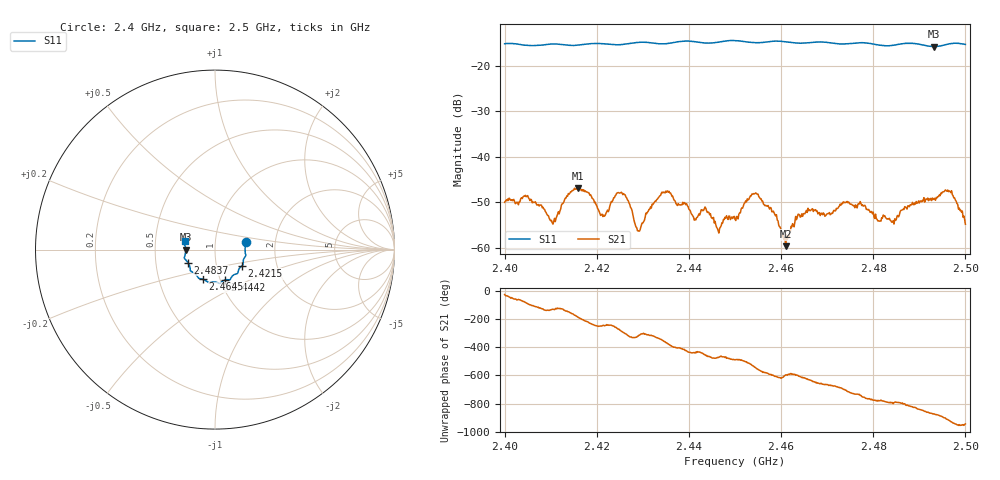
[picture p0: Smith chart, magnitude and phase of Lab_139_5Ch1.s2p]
# Hz S RI R 50
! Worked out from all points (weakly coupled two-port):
!   601 points, 2.4 GHz to 2.5 GHz, reference 50 ohm
!   highest |S21| = -46.86 dB at 2.416 GHz (marker M1); lowest = -59.7 dB at 2.461 GHz (marker M2)
!   lowest |S11| = -15.7 dB at 2.4932 GHz (marker M3), VSWR 1.39, Z = 35.9 - j0.0683 ohm
!   |S11| at or under -10 dB: start of sweep to end of sweep
!   S12 and S22 are empty: the file has one direction only
!   S11 on the Smith chart (normalised r, x): 2.4 GHz: 1.41, +0.12; 2.4215 GHz: 1.33, -0.25; 2.4442 GHz: 1.05, -0.37; 2.4645 GHz: 0.83, -0.29; 2.4837 GHz: 0.73, -0.11; 2.5 GHz: 0.71, +0.07
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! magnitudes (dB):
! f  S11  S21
! 2.4 GHz  -15.1  -50.0
! 2.4047 GHz  -15.5  -48.8
! 2.4105 GHz  -15.1  -54.8
! 2.416 GHz  -15.4  -46.9
! 2.4167 GHz  -15.3  -47.4
! 2.4215 GHz  -15.1  -52.8
! 2.4257 GHz  -15.2  -48.3
! 2.4292 GHz  -14.8  -56.4
! 2.4333 GHz  -15.1  -49.1
! 2.4442 GHz  -15.0  -52.1
! 2.4463 GHz  -14.8  -56.2
! 2.45 GHz  -14.4  -53.7
! 2.4545 GHz  -14.9  -47.9
! 2.461 GHz  -14.7  -59.7
! 2.4645 GHz  -15.0  -52.5
! 2.4667 GHz  -14.8  -51.5
! 2.4772 GHz  -14.9  -49.8
! 2.4833 GHz  -15.6  -53.7
! 2.4837 GHz  -15.5  -53.9
! 2.4932 GHz  -15.7  -49.2
! 2.4967 GHz  -15.1  -47.6
! 2.5 GHz  -15.2  -54.8
